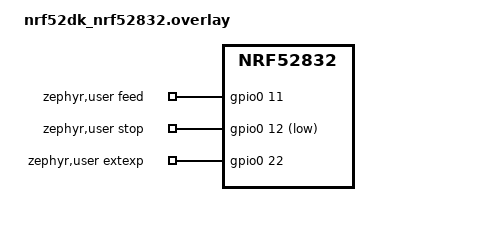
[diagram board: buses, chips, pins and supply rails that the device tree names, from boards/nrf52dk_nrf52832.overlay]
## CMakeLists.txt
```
cmake_minimum_required(VERSION 3.20.0)
find_package(Zephyr REQUIRED HINTS $ENV{ZEPHYR_BASE})
project(z52_ext_wdt)
target_sources(app PRIVATE src/main.c)
```

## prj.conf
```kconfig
CONFIG_GPIO=y
CONFIG_WATCHDOG=y
CONFIG_HWINFO=y
CONFIG_PRINTK=y
CONFIG_SERIAL=y
CONFIG_CONSOLE=y
CONFIG_UART_CONSOLE=y
```

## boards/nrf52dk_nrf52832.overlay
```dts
/* Chip-EXTERNAL safety watchdog (§14.9 rung 3) — nRF52-DK (PCA10040).
 *
 * Pins verified against zephyr/boards/nordic/nrf52dk (buttons P0.13-16,
 * LEDs P0.17-20, UART P0.05-08, 32k xtal P0.00/01, NFC P0.09/10):
 * P0.11, P0.12, P0.22 are free and on the edge headers.
 *
 * ⚠ ELECTRICAL: nRF52-DK I/O is 3.0 V. Set BOTH nRF54L15-DK boards to
 * VDD 3.0 V (Board Configurator) BEFORE connecting the feed wire — 3.3 V
 * into a 3.0 V-supplied nRF52 pin sits at its absolute-maximum rating.
 *
 * stop is GPIO_ACTIVE_LOW like the nRF54 watchdog: asserted = line LOW;
 * production fits an external pull-down so unpowered/reset/hi-Z = STOP. */
/ {
	zephyr,user {
		feed-gpios   = <&gpio0 11 GPIO_ACTIVE_HIGH>; /* from periph P2.10 (HBRX mirror):
		                                              * one toggle per valid heartbeat */
		stop-gpios   = <&gpio0 12 GPIO_ACTIVE_LOW>;  /* independent STOP output -> LA CH6 */
		extexp-gpios = <&gpio0 22 GPIO_ACTIVE_HIGH>; /* expiry marker -> LA CH7 */
	};
};
```

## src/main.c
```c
/*
 * Chip-EXTERNAL safety watchdog demonstrator (§14.9 rung 3) — nRF52-DK.
 *
 * Watches the peripheral's valid-heartbeat evidence (HBRX mirror line, one
 * toggle per valid heartbeat) from SEPARATE silicon with its own clock,
 * power, and hardware WDT. If edges stop for WDT_TIMEOUT_MS, this chip's
 * hardware watchdog fires: pre-reset ISR toggles the expiry marker and
 * asserts an INDEPENDENT STOP output, then the chip resets into the
 * latched-STOP boot state. Covers the failure class the on-chip nRF54
 * watchdog cannot: the whole radio SoC dying with its pins frozen.
 *
 * DEMONSTRATOR SIMPLIFICATION (documented, deliberate): re-arm is AUTOMATIC
 * after N spaced edges + a dwell (no button). The manual §14.9 re-arm gate
 * lives on the nRF54 watchdog; system STOP is the AND of both lines being
 * high (either asserting low = stop), so auto-re-arm here cannot resume
 * motion on its own. Production would use a dumb watchdog IC, not an MCU.
 *
 * Fail-safe inventory: edges stop -> HW WDT trips (this code not consulted);
 * this chip unpowered/reset -> pin hi-Z -> external pull-down asserts STOP
 * (production part; bench uses the cross-board stand-in when testing that).
 */
#include <zephyr/kernel.h>
#include <zephyr/sys/printk.h>
#include <zephyr/drivers/gpio.h>
#include <zephyr/drivers/watchdog.h>
#include <zephyr/drivers/hwinfo.h>

#define WDT_TIMEOUT_MS     200
#define ARM_EDGES          10
#define ARM_MIN_SPACING_MS 10
#define ARM_MIN_DWELL_MS   180

#define ZUSER DT_PATH(zephyr_user)
static const struct gpio_dt_spec feed_gpio = GPIO_DT_SPEC_GET(ZUSER, feed_gpios);
static const struct gpio_dt_spec stop_gpio = GPIO_DT_SPEC_GET(ZUSER, stop_gpios);
static const struct gpio_dt_spec exp_gpio  = GPIO_DT_SPEC_GET(ZUSER, extexp_gpios);
static const struct gpio_dt_spec led      = GPIO_DT_SPEC_GET(DT_ALIAS(led0), gpios);
static const struct device *const wdt_dev = DEVICE_DT_GET(DT_ALIAS(watchdog0));

enum { ST_ARMING, ST_RUNNING };            /* boots ARMING with STOP asserted */
static volatile int state = ST_ARMING;
static volatile uint32_t edges, arm_count, feeds;
static int64_t arming_since_ms, last_counted_ms, last_edge_ms;
static int wdt_chan = -1;
static bool wdt_live, booted_from_wdt;

/* Pre-reset window: marker first, then STOP. The chip resets moments later
 * and boots back into ARMING with STOP asserted. */
static void wdt_expiry_cb(const struct device *dev, int chan)
{
	ARG_UNUSED(dev); ARG_UNUSED(chan);
	gpio_pin_toggle_dt(&exp_gpio);
	(void)gpio_pin_set_dt(&stop_gpio, 1);   /* asserted = line low */
	(void)gpio_pin_set_dt(&led, 1);
}

/* One toggle per valid heartbeat, both edges. Single ISR context — the only
 * writer of the state machine. */
static struct gpio_callback feed_cb_data;
static void feed_edge(const struct device *dev, struct gpio_callback *cb, uint32_t pins)
{
	ARG_UNUSED(dev); ARG_UNUSED(cb); ARG_UNUSED(pins);
	int64_t now = k_uptime_get();
	edges++;

	if (state == ST_RUNNING) {
		(void)wdt_feed(wdt_dev, wdt_chan);
		feeds++;
		last_edge_ms = now;
		return;
	}

	/* ARMING: require N edges spaced >= ARM_MIN_SPACING_MS plus a dwell —
	 * a queued burst must not demonstrate liveness. A silence gap longer
	 * than the deadline restarts the count. */
	if (now - last_edge_ms > WDT_TIMEOUT_MS) {
		arm_count = 0;
		arming_since_ms = now;
	}
	last_edge_ms = now;
	if (arm_count == 0 || now - last_counted_ms >= ARM_MIN_SPACING_MS) {
		if (arm_count == 0) { arming_since_ms = now; }
		arm_count++;
		last_counted_ms = now;
	}
	if (arm_count >= ARM_EDGES && now - arming_since_ms >= ARM_MIN_DWELL_MS) {
		if (!wdt_live) {
			if (wdt_setup(wdt_dev, WDT_OPT_PAUSE_HALTED_BY_DBG) != 0) {
				return;   /* stay ARMING, STOP stays asserted */
			}
			wdt_live = true;
		}
		(void)wdt_feed(wdt_dev, wdt_chan);
		(void)gpio_pin_set_dt(&stop_gpio, 0);   /* drive RUN (line high) */
		(void)gpio_pin_set_dt(&led, 0);
		state = ST_RUNNING;
	}
}

int main(void)
{
	uint32_t cause = 0;
	if (hwinfo_get_reset_cause(&cause) == 0) {
		booted_from_wdt = (cause & RESET_WATCHDOG) != 0;
		(void)hwinfo_clear_reset_cause();
	}

	int rc = 0;
	if (!gpio_is_ready_dt(&feed_gpio) || !gpio_is_ready_dt(&stop_gpio) ||
	    !gpio_is_ready_dt(&exp_gpio) || !gpio_is_ready_dt(&led) ||
	    !device_is_ready(wdt_dev)) { rc = -ENODEV; }
	if (!rc) { rc = gpio_pin_configure_dt(&stop_gpio, GPIO_OUTPUT_ACTIVE); }  /* STOP first */
	if (!rc) { rc = gpio_pin_configure_dt(&exp_gpio, GPIO_OUTPUT_INACTIVE); }
	if (!rc) { rc = gpio_pin_configure_dt(&led, GPIO_OUTPUT_ACTIVE); }
	if (!rc) { rc = gpio_pin_configure_dt(&feed_gpio, GPIO_INPUT); }
	if (!rc) { rc = gpio_pin_interrupt_configure_dt(&feed_gpio, GPIO_INT_EDGE_BOTH); }
	if (!rc) {
		const struct wdt_timeout_cfg cfg = {
			.window = { .min = 0, .max = WDT_TIMEOUT_MS },
			.callback = wdt_expiry_cb,
			.flags = WDT_FLAG_RESET_SOC,
		};
		wdt_chan = wdt_install_timeout(wdt_dev, &cfg);
		if (wdt_chan < 0) { rc = wdt_chan; }
	}
	if (!rc) {
		gpio_init_callback(&feed_cb_data, feed_edge, BIT(feed_gpio.pin));
		rc = gpio_add_callback(feed_gpio.port, &feed_cb_data);
	}
	if (rc) {
		printk("EXTWDT: bring-up FAILED (%d) — STOP latched, watching nothing\n", rc);
		return 0;   /* STOP stays asserted (or hi-Z + pull in production) */
	}
	printk("EXTWDT: external watchdog up — deadline %d ms on nRF52 wdt0, "
	       "arm N=%d spacing>=%d ms dwell>=%d ms (AUTO re-arm, demonstrator)%s\n",
	       WDT_TIMEOUT_MS, ARM_EDGES, ARM_MIN_SPACING_MS, ARM_MIN_DWELL_MS,
	       booted_from_wdt ? " [boot follows HW-WDT reset — prior STOP trip]" : "");

	uint32_t sec = 0, prev_edges = 0;
	while (1) {
		k_msleep(1000);
		sec++;
		uint32_t e = edges;
		printk("X t=%us ext=%s%s edges=%u(+%u/s) feeds=%u arm_count=%u\n",
		       sec, state == ST_RUNNING ? "RUNNING" : "ARMING",
		       booted_from_wdt ? "(posttrip)" : "", e, e - prev_edges,
		       feeds, arm_count);
		prev_edges = e;
	}
	return 0;
}
```
